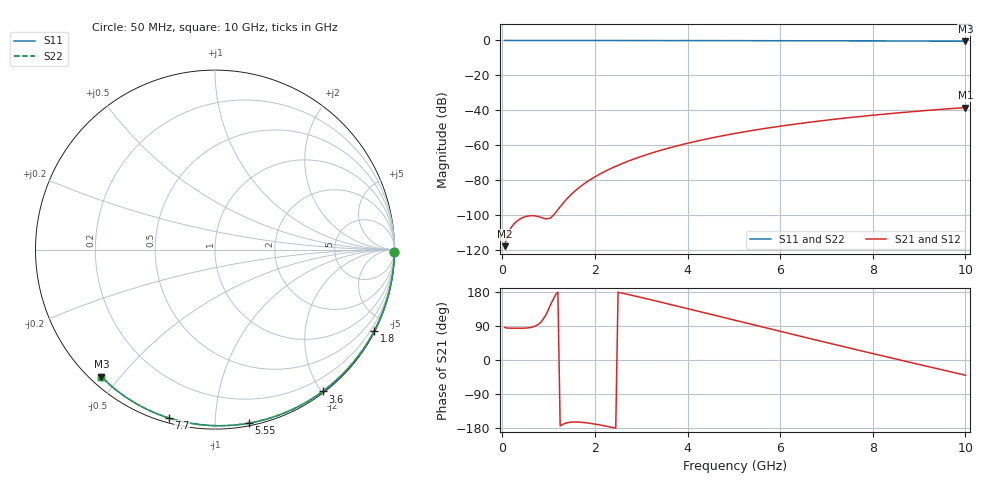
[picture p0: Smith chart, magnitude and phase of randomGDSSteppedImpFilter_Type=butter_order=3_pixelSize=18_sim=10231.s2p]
! freq	dB(S11)	phase(S11)	dB(S12)	phase(S12)
!  dB(S21)	phase(S21)	dB(S22)	phase(S22)
!S-par simulation data
#  GHz  S  DB  R 50
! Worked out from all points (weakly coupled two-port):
!   200 points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, 50 MHz to 10 GHz, reference 50 ohm
!   highest |S21| = -38.37 dB at 10 GHz (marker M1); lowest = -117.6 dB at 50 MHz (marker M2)
!   lowest |S11| = -0.4 dB at 10 GHz (marker M3), VSWR 38.97, Z = 1.54 - j22.4 ohm
!   |S11| at or under -10 dB: nowhere
!   |S22| runs from -0.4 to 0.0 dB; largest |S21 - S12| = 0
!   S11 on the Smith chart (normalised r, x): 50 MHz: open; 1.8 GHz: 0.04, -4.16; 3.6 GHz: 0.02, -2.01; 5.55 GHz: 0.02, -1.22; 7.7 GHz: 0.02, -0.76; 10 GHz: 0.03, -0.45
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0.05  -0.00 -0.8  -117.63 85.9  -117.63 85.9  -0.00 -0.8
0.9  -0.02 -13.6  -101.75 110.8  -101.75 110.8  -0.02 -13.6
1.75  -0.03 -26.3  -82.28 -164.9  -82.28 -164.9  -0.03 -26.3
1.8  -0.03 -27.0  -81.35 -165.5  -81.35 -165.5  -0.03 -27.0
1.85  -0.04 -27.7  -80.46 -166.3  -80.46 -166.3  -0.04 -27.7
1.9  -0.04 -28.5  -79.60 -167.2  -79.60 -167.2  -0.04 -28.5
2.05  -0.04 -30.7  -77.22 -170.2  -77.22 -170.2  -0.04 -30.7
2.25  -0.04 -33.6  -74.42 -174.8  -74.42 -174.8  -0.04 -33.6
2.45  -0.05 -36.5  -71.94 -179.9  -71.94 -179.9  -0.05 -36.5
2.65  -0.05 -39.4  -69.72 174.8  -69.72 174.8  -0.05 -39.4
3  -0.06 -44.4  -66.31 165.0  -66.31 165.0  -0.06 -44.4
3.4  -0.07 -50.0  -62.97 153.3  -62.97 153.3  -0.07 -50.0
3.6  -0.07 -52.8  -61.48 147.5  -61.48 147.5  -0.07 -52.8
4.3  -0.09 -62.4  -56.97 126.6  -56.97 126.6  -0.09 -62.4
5.05  -0.11 -72.4  -53.05 104.1  -53.05 104.1  -0.11 -72.4
5.55  -0.13 -78.9  -50.82 89.1  -50.82 89.1  -0.13 -78.9
6.1  -0.15 -85.8  -48.64 72.7  -48.64 72.7  -0.15 -85.8
6.7  -0.18 -93.3  -46.54 54.9  -46.54 54.9  -0.18 -93.3
7.7  -0.24 -105.3  -43.55 25.6  -43.55 25.6  -0.24 -105.3
8.35  -0.29 -112.9  -41.88 6.8  -41.88 6.8  -0.29 -112.9
9.15  -0.36 -122.1  -40.06 -16.0  -40.06 -16.0  -0.36 -122.1
10  -0.45 -131.8  -38.37 -40.2  -38.37 -40.2  -0.45 -131.8
